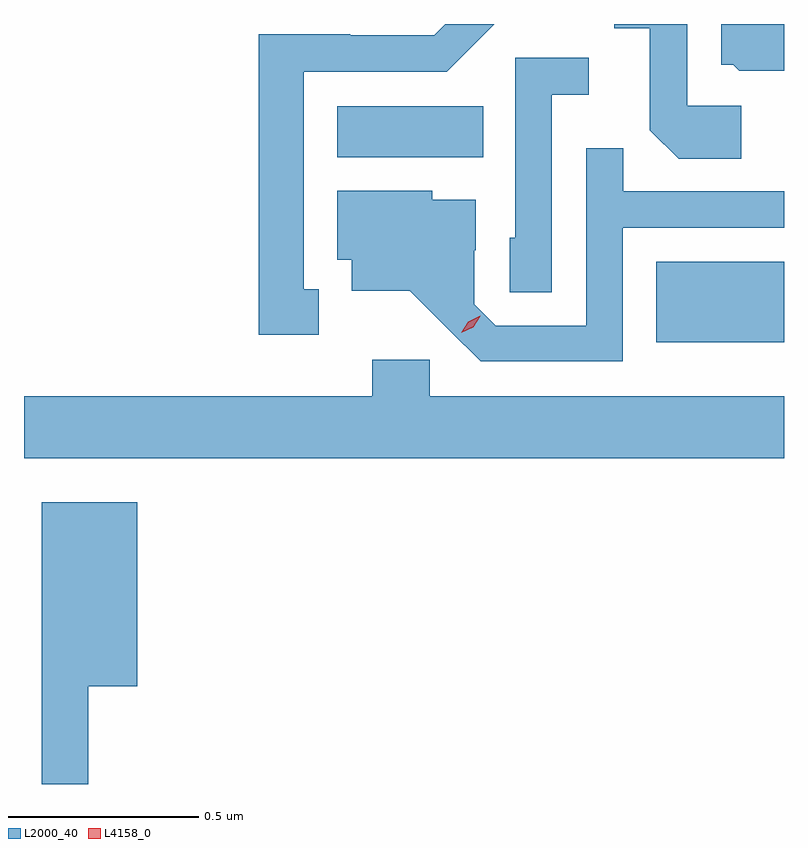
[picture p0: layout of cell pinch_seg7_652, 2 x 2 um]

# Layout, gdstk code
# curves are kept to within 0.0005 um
import gdstk
lib = gdstk.Library(unit=1e-6, precision=1e-09)
def R(c, l, rs):  # rectangles x0, y0, x1, y1
    for r in rs: c.add(gdstk.rectangle(r[:2], r[2:], *l))
def P(c, l, *ps):  # polygons
    for p in ps: c.add(gdstk.Polygon(p, *l))
L2000_40 = (2000, 40)
L4158_0 = (4158, 0)

pinch_seg7_652 = lib.new_cell('pinch_seg7_652')
R(pinch_seg7_652, L2000_40, [(170.624,1039.55,170.96,1039.762), (169.784,1040.036,170.168,1040.17)])
P(pinch_seg7_652, L2000_40, [(169.735,1039.689),(169.696,1039.689),(169.696,1040.262),(170.073,1040.262),(170.198,1040.387),(170.069,1040.387),(170.04,1040.358),(169.818,1040.358),(169.818,1040.36),(169.578,1040.36),(169.578,1039.569),(169.735,1039.569)],
  [(170.848,1040.172),(170.706,1040.172),(170.706,1040.387),(170.513,1040.387),(170.513,1040.376),(170.607,1040.376),(170.607,1040.108),(170.683,1040.032),(170.848,1040.032)],
  [(170.96,1040.387),(170.795,1040.387),(170.795,1040.28),(170.826,1040.28),(170.842,1040.264),(170.96,1040.264)],
  [(170.349,1040.201),(170.446,1040.201),(170.446,1040.298),(170.253,1040.298),(170.253,1039.824),(170.238,1039.824),(170.238,1039.681),(170.349,1039.681)],
  [(170.535,1039.851),(170.96,1039.851),(170.96,1039.947),(170.537,1039.947),(170.537,1040.06),(170.439,1040.06),(170.439,1039.593),(170.202,1039.593),(170.145,1039.65),(170.145,1039.792),(170.149,1039.792),(170.149,1039.924),(170.034,1039.924),(170.034,1039.948),(169.784,1039.948),(169.784,1039.766),(169.823,1039.766),(169.823,1039.685),(169.975,1039.685),(170.162,1039.5),(170.535,1039.5)],
  [(170.96,1039.408),(170.028,1039.408),(170.028,1039.504),(169.877,1039.504),(169.877,1039.408),(168.96,1039.408),(168.96,1039.244),(170.96,1039.244)],
  [(169.129,1038.644),(169.258,1038.644),(169.258,1039.129),(169.007,1039.129),(169.007,1038.387),(169.129,1038.387)])
P(pinch_seg7_652, L4158_0, [(170.111,1039.574),(170.111,1039.575),(170.129,1039.604),(170.16,1039.619),(170.16,1039.619),(170.16,1039.618),(170.142,1039.589),(170.111,1039.574)])

lib.write_gds('pinch_seg7_652.gds')
